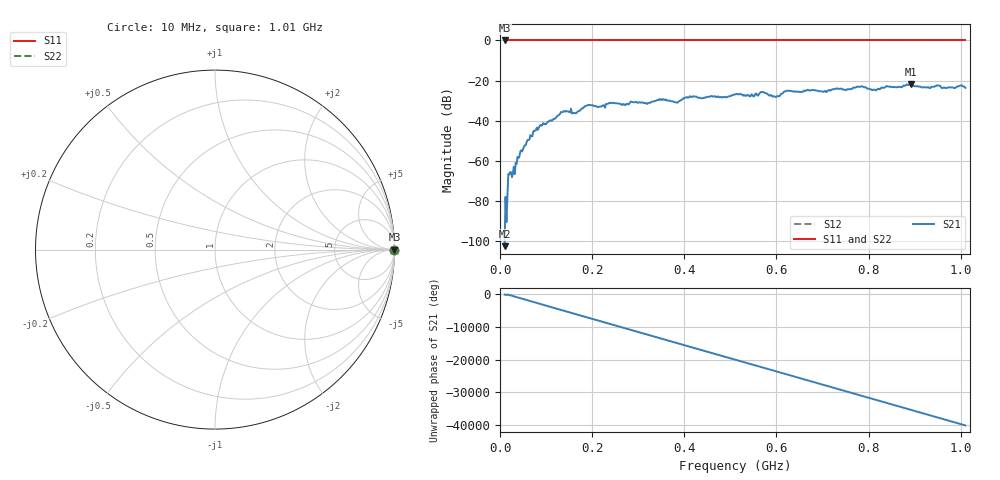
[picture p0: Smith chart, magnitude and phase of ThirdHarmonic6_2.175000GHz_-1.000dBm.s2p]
! 8/17/2025 1:57:02 AM
! C:\ANRITSUVNA\TEMP\TEMP.S2P
! CHANNEL.1
! TR.MEASUREMENT
! RAW.DATA
! RF.CORRECTION.OFF
! AVERAGING.OFF
! IF.BANDWIDTH: 5KHZ
! SWEEPTYPE:  FREQ.SWEEP(Linear)
! Reference Plane Port Info
! PORT:  PORT1  PORT2
! DISTANCE:  0  m  0  m
! TIME:  0  s  0  s
! PHASE.OFFSET:  0  deg.  0  deg.
! LOSS:  0  dB  0  dB
! REF.LOSS:  0  dB  0  dB
! REF.FREQ:  0  Hz  0  Hz
! Power Info
! POWER:  -20  dBm  -20  dBm
! EFF.POWER:  -20  dBm  -20  dBm
! SOURCE.ATTEN:  0  dB  0  dB
! TEST.ATTEN:  0  dB  0  dB
# GHZ S RI R 50.0
! FREQ.GHZ  S11RE  S11IM  S21RE  S21IM  S12RE  S12IM  S22RE  S22IM
!; PortSelection: Port_12
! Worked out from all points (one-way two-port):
!   501 points, 10 MHz to 1.01 GHz, reference 50 ohm
!   highest |S21| = -21.93 dB at 892 MHz (marker M1); lowest = -102.7 dB at 10 MHz (marker M2)
!   lowest |S11| = 0.0 dB at 10 MHz (marker M3)
!   |S11| at or under -10 dB: nowhere
!   |S22| runs from 0.0 to 0.0 dB; largest |S21 - S12| = 1.1
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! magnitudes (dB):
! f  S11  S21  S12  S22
! 10 MHz  0.0  -102.7  0.0  0.0
! 12 MHz  0.0  -78.1  0.0  0.0
! 22 MHz  0.0  -65.7  0.0  0.0
! 28 MHz  0.0  -66.2  0.0  0.0
! 42 MHz  0.0  -58.0  0.0  0.0
! 76 MHz  0.0  -45.2  0.0  0.0
! 136 MHz  0.0  -35.8  0.0  0.0
! 162 MHz  0.0  -36.3  0.0  0.0
! 178 MHz  0.0  -33.9  0.0  0.0
! 344 MHz  0.0  -29.7  0.0  0.0
! 382 MHz  0.0  -30.9  0.0  0.0
! 416 MHz  0.0  -28.3  0.0  0.0
! 510 MHz  0.0  -27.0  0.0  0.0
! 570 MHz  0.0  -25.7  0.0  0.0
! 602 MHz  0.0  -27.8  0.0  0.0
! 622 MHz  0.0  -25.2  0.0  0.0
! 678 MHz  0.0  -24.7  0.0  0.0
! 784 MHz  0.0  -22.9  0.0  0.0
! 812 MHz  0.0  -24.5  0.0  0.0
! 844 MHz  0.0  -23.1  0.0  0.0
! 892 MHz  0.0  -21.9  0.0  0.0
! 1.01 GHz  0.0  -23.7  0.0  0.0
